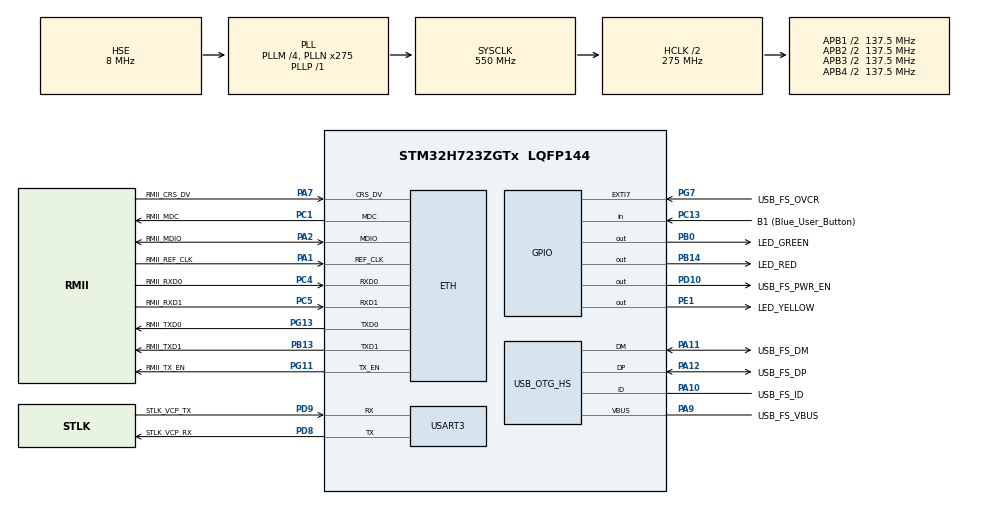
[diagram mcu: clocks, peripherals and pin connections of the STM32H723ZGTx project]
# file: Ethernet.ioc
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ADC3.Channel-0\#ChannelRegularConversion=ADC_CHANNEL_VREFINT
ADC3.ClockPrescalerADC3=ADC_CLOCK_ASYNC_DIV2
ADC3.NbrOfConversionFlag=1
ADC3.OffsetNumber-0\#ChannelRegularConversion=ADC_OFFSET_NONE
ADC3.OffsetSign-0\#ChannelRegularConversion=ADC3_OFFSET_SIGN_NEGATIVE
ADC3.Rank-0\#ChannelRegularConversion=1
ADC3.SamplingTime-0\#ChannelRegularConversion=ADC3_SAMPLETIME_2CYCLES_5
ETH.MediaInterface=HAL_ETH_RMII_MODE
Mcu.Family=STM32H7
Mcu.Name=STM32H723ZGTx
Mcu.Package=LQFP144
NVIC.PriorityGroup=NVIC_PRIORITYGROUP_4
PA1.GPIO_Label=RMII_REF_CLK
PA1.Mode=RMII
PA1.Signal=ETH_REF_CLK
PA10.GPIO_Label=USB_FS_ID
PA10.Mode=OTG/Dual-Role-Device-FS
PA10.Signal=USB_OTG_HS_ID
PA11.GPIO_Label=USB_FS_DM
PA11.Mode=OTG/Dual-Role-Device-FS
PA11.Signal=USB_OTG_HS_DM
PA12.GPIO_Label=USB_FS_DP
PA12.Mode=OTG/Dual-Role-Device-FS
PA12.Signal=USB_OTG_HS_DP
PA13(JTMS/SWDIO).GPIO_Label=SWDIO
PA13(JTMS/SWDIO).Mode=Trace_Asynchronous_SW
PA13(JTMS/SWDIO).Signal=DEBUG_JTMS-SWDIO
PA14(JTCK/SWCLK).GPIO_Label=SWCLK
PA14(JTCK/SWCLK).Mode=Trace_Asynchronous_SW
PA14(JTCK/SWCLK).Signal=DEBUG_JTCK-SWCLK
PA2.GPIO_Label=RMII_MDIO
PA2.Mode=RMII
PA2.Signal=ETH_MDIO
PA7.GPIO_Label=RMII_CRS_DV
PA7.Mode=RMII
PA7.Signal=ETH_CRS_DV
PA9.GPIO_Label=USB_FS_VBUS
PA9.Mode=Activate_VBUS_FS
PA9.Signal=USB_OTG_HS_VBUS
PB0.GPIO_Label=LED_GREEN
PB0.Signal=GPIO_Output
PB13.GPIO_Label=RMII_TXD1
PB13.Mode=RMII
PB13.Signal=ETH_TXD1
PB14.GPIO_Label=LED_RED
PB14.Signal=GPIO_Output
PB3(JTDO/TRACESWO).GPIO_Label=SWO
PB3(JTDO/TRACESWO).Mode=Trace_Asynchronous_SW
PB3(JTDO/TRACESWO).Signal=DEBUG_JTDO-SWO
PC1.GPIO_Label=RMII_MDC
PC1.Mode=RMII
PC1.Signal=ETH_MDC
PC13.GPIO_Label=B1 (Blue_User_Button)
PC13.Signal=GPIO_Input
PC14-OSC32_IN.Mode=LSE-External-Oscillator
PC14-OSC32_IN.Signal=RCC_OSC32_IN
PC15-OSC32_OUT.Mode=LSE-External-Oscillator
PC15-OSC32_OUT.Signal=RCC_OSC32_OUT
PC4.GPIO_Label=RMII_RXD0
PC4.Mode=RMII
PC4.Signal=ETH_RXD0
PC5.GPIO_Label=RMII_RXD1
PC5.Mode=RMII
PC5.Signal=ETH_RXD1
PD10.GPIO_Label=USB_FS_PWR_EN
PD10.Signal=GPIO_Output
PD8.GPIO_Label=STLK_VCP_RX
PD8.Mode=Asynchronous
PD8.Signal=USART3_TX
PD9.GPIO_Label=STLK_VCP_TX
PD9.Mode=Asynchronous
PD9.Signal=USART3_RX
PE1.GPIO_Label=LED_YELLOW
PE1.Signal=GPIO_Output
PG11.GPIO_Label=RMII_TX_EN
PG11.Mode=RMII
PG11.Signal=ETH_TX_EN
PG13.GPIO_Label=RMII_TXD0
PG13.Mode=RMII
PG13.Signal=ETH_TXD0
PG7.GPIO_Label=USB_FS_OVCR
PG7.Signal=GPXTI7
PH0-OSC_IN.GPIO_Label=MCO
PH0-OSC_IN.Mode=HSE-External-Clock-Source
PH0-OSC_IN.Signal=RCC_OSC_IN
PH1-OSC_OUT.Signal=RCC_OSC_OUT
ProjectManager.HeapSize=0x4000
ProjectManager.StackSize=0x2000
ProjectManager.TargetToolchain=STM32CubeIDE
RCC.ADCFreq_Value=76000000
RCC.APB1Freq_Value=137500000
RCC.APB2Freq_Value=137500000
RCC.APB3Freq_Value=137500000
RCC.APB4Freq_Value=137500000
RCC.CortexFreq_Value=550000000
RCC.D1PPRE=RCC_APB3_DIV2
RCC.D2PPRE1=RCC_APB1_DIV2
RCC.D2PPRE2=RCC_APB2_DIV2
RCC.D3PPRE=RCC_APB4_DIV2
RCC.DIVM1=4
RCC.DIVM2=1
RCC.DIVN1=275
RCC.DIVN2=19
RCC.DIVP1=1
RCC.DIVQ1=4
RCC.HCLKFreq_Value=275000000
RCC.HPRE=RCC_HCLK_DIV2
RCC.HSE_VALUE=8000000
RCC.PLLFRACN=0
RCC.PLLSourceVirtual=RCC_PLLSOURCE_HSE
RCC.SYSCLKFreq_VALUE=550000000
RCC.SYSCLKSource=RCC_SYSCLKSOURCE_PLLCLK
RCC.USBCLockSelection=RCC_USBCLKSOURCE_HSI48
RCC.USBFreq_Value=48000000
USART3.VirtualMode-Asynchronous=VM_ASYNC
VP_ADC3_Vref_Input.Mode=IN-Vrefint
VP_MEMORYMAP_VS_MEMORYMAP.Mode=CurAppReg
board=NUCLEO-H723ZG

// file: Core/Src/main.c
/* USER CODE BEGIN Header */
/**
  ******************************************************************************
  * @file           : main.c
  * @brief          : Main program body
  ******************************************************************************
  * @attention
  *
  * Copyright (c) 2024 STMicroelectronics.
  * All rights reserved.
  *
  * This software is licensed under terms that can be found in the LICENSE file
  * in the root directory of this software component.
  * If no LICENSE file comes with this software, it is provided AS-IS.
  *
  ******************************************************************************
  */
/* USER CODE END Header */
#include "main.h"
#include "string.h"

/* USER CODE BEGIN Includes */
#include "stm32h7xx_hal_eth.h"
#include <stdio.h>
#include <time.h>
#include <stdlib.h>
/* USER CODE END Includes */

/* USER CODE BEGIN PTD */
#define TOTAL_FLOATS 128
#define TX_BUFFER_SIZE 512
uint8_t TxDataBuffer[TX_BUFFER_SIZE];
float adc_buffer[TOTAL_FLOATS];
//#define GET_TRAINING_DATA
/* USER CODE END PTD */

#if defined ( __ICCARM__ ) /*!< IAR Compiler */
#pragma location=0x30000000
ETH_DMADescTypeDef  DMARxDscrTab[ETH_RX_DESC_CNT]; /* Ethernet Rx DMA Descriptors */
#pragma location=0x30000080
ETH_DMADescTypeDef  DMATxDscrTab[ETH_TX_DESC_CNT]; /* Ethernet Tx DMA Descriptors */

#elif defined ( __CC_ARM )  /* MDK ARM Compiler */

__attribute__((at(0x30000000))) ETH_DMADescTypeDef  DMARxDscrTab[ETH_RX_DESC_CNT]; /* Ethernet Rx DMA Descriptors */
__attribute__((at(0x30000080))) ETH_DMADescTypeDef  DMATxDscrTab[ETH_TX_DESC_CNT]; /* Ethernet Tx DMA Descriptors */

#elif defined ( __GNUC__ ) /* GNU Compiler */

ETH_DMADescTypeDef DMARxDscrTab[ETH_RX_DESC_CNT] __attribute__((section(".RxDecripSection"))); /* Ethernet Rx DMA Descriptors */
ETH_DMADescTypeDef DMATxDscrTab[ETH_TX_DESC_CNT] __attribute__((section(".TxDecripSection")));   /* Ethernet Tx DMA Descriptors */
#endif

ETH_TxPacketConfig TxConfig;
ADC_HandleTypeDef hadc3;
ETH_HandleTypeDef heth;
UART_HandleTypeDef huart3;

/* USER CODE BEGIN PV */
void TransmitPacket(ETH_HandleTypeDef *heth);
void ReadChunk(ETH_HandleTypeDef *heth, uint8_t *RxDataBuffer);
void TransmitRawVoltage();
/* USER CODE END PV */

void SystemClock_Config(void);
static void MX_GPIO_Init(void);
static void MX_ETH_Init(void);
static void MX_USART3_UART_Init(void);
static void MX_USB_OTG_HS_USB_Init(void);
static void MX_ADC3_Init(void);

int main(void)
{

  /* MCU Configuration--------------------------------------------------------*/

  /* Reset of all peripherals, Initializes the Flash interface and the Systick. */
  HAL_Init();

  /* Configure the system clock */
  SystemClock_Config();

  /* Initialize all configured peripherals */
  MX_GPIO_Init();
  MX_ETH_Init();
  MX_USART3_UART_Init();
  MX_USB_OTG_HS_USB_Init();
  MX_ADC3_Init();
  /* USER CODE BEGIN 2 */

  for(int i=0; i < 100; i++)
	  TransmitRawVoltage();

  /* USER CODE END 2 */

  /* Infinite loop */
  while (1)
  {

  }
}

void SystemClock_Config(void)
{
  RCC_OscInitTypeDef RCC_OscInitStruct = {0};
  RCC_ClkInitTypeDef RCC_ClkInitStruct = {0};

  /** Supply configuration update enable
  */
  HAL_PWREx_ConfigSupply(PWR_LDO_SUPPLY);

  /** Configure the main internal regulator output voltage
  */
  __HAL_PWR_VOLTAGESCALING_CONFIG(PWR_REGULATOR_VOLTAGE_SCALE0);

  while(!__HAL_PWR_GET_FLAG(PWR_FLAG_VOSRDY)) {}

  /** Initializes the RCC Oscillators according to the specified parameters
  * in the RCC_OscInitTypeDef structure.
  */
  RCC_OscInitStruct.OscillatorType = RCC_OSCILLATORTYPE_HSI48|RCC_OSCILLATORTYPE_HSE;
  RCC_OscInitStruct.HSEState = RCC_HSE_BYPASS;
  RCC_OscInitStruct.HSI48State = RCC_HSI48_ON;
  RCC_OscInitStruct.PLL.PLLState = RCC_PLL_ON;
  RCC_OscInitStruct.PLL.PLLSource = RCC_PLLSOURCE_HSE;
  RCC_OscInitStruct.PLL.PLLM = 4;
  RCC_OscInitStruct.PLL.PLLN = 275;
  RCC_OscInitStruct.PLL.PLLP = 1;
  RCC_OscInitStruct.PLL.PLLQ = 4;
  RCC_OscInitStruct.PLL.PLLR = 2;
  RCC_OscInitStruct.PLL.PLLRGE = RCC_PLL1VCIRANGE_1;
  RCC_OscInitStruct.PLL.PLLVCOSEL = RCC_PLL1VCOWIDE;
  RCC_OscInitStruct.PLL.PLLFRACN = 0;
  if (HAL_RCC_OscConfig(&RCC_OscInitStruct) != HAL_OK)
  {
    Error_Handler();
  }

  /** Initializes the CPU, AHB and APB buses clocks
  */
  RCC_ClkInitStruct.ClockType = RCC_CLOCKTYPE_HCLK|RCC_CLOCKTYPE_SYSCLK
                              |RCC_CLOCKTYPE_PCLK1|RCC_CLOCKTYPE_PCLK2
                              |RCC_CLOCKTYPE_D3PCLK1|RCC_CLOCKTYPE_D1PCLK1;
  RCC_ClkInitStruct.SYSCLKSource = RCC_SYSCLKSOURCE_PLLCLK;
  RCC_ClkInitStruct.SYSCLKDivider = RCC_SYSCLK_DIV1;
  RCC_ClkInitStruct.AHBCLKDivider = RCC_HCLK_DIV2;
  RCC_ClkInitStruct.APB3CLKDivider = RCC_APB3_DIV2;
  RCC_ClkInitStruct.APB1CLKDivider = RCC_APB1_DIV2;
  RCC_ClkInitStruct.APB2CLKDivider = RCC_APB2_DIV2;
  RCC_ClkInitStruct.APB4CLKDivider = RCC_APB4_DIV2;

  if (HAL_RCC_ClockConfig(&RCC_ClkInitStruct, FLASH_LATENCY_3) != HAL_OK)
  {
    Error_Handler();
  }
}

static void MX_ADC3_Init(void)
{

  /* USER CODE BEGIN ADC3_Init 0 */
	__HAL_RCC_ADC3_CLK_ENABLE();
  /* USER CODE END ADC3_Init 0 */

  ADC_ChannelConfTypeDef sConfig = {0};

  /** Common config
  */
  hadc3.Instance = ADC3;
  hadc3.Init.ClockPrescaler = ADC_CLOCK_ASYNC_DIV2;
  hadc3.Init.Resolution = ADC_RESOLUTION_12B;
  hadc3.Init.DataAlign = ADC3_DATAALIGN_RIGHT;
  hadc3.Init.ScanConvMode = DISABLE;
  hadc3.Init.EOCSelection = ADC_EOC_SINGLE_CONV;
  hadc3.Init.LowPowerAutoWait = DISABLE;
  hadc3.Init.ContinuousConvMode = DISABLE;
  hadc3.Init.NbrOfConversion = 1;
  hadc3.Init.DiscontinuousConvMode = DISABLE;
  hadc3.Init.ExternalTrigConv = ADC_SOFTWARE_START;
  hadc3.Init.ExternalTrigConvEdge = ADC_EXTERNALTRIGCONVEDGE_NONE;
  hadc3.Init.DMAContinuousRequests = DISABLE;
  hadc3.Init.SamplingMode = ADC_SAMPLING_MODE_NORMAL;
  hadc3.Init.ConversionDataManagement = ADC_CONVERSIONDATA_DR;
  hadc3.Init.Overrun = ADC_OVR_DATA_PRESERVED;
  hadc3.Init.LeftBitShift = ADC_LEFTBITSHIFT_NONE;
  hadc3.Init.OversamplingMode = DISABLE;
  hadc3.Init.Oversampling.Ratio = ADC3_OVERSAMPLING_RATIO_2;
  if (HAL_ADC_Init(&hadc3) != HAL_OK)
  {
    Error_Handler();
  }

  /** Configure Regular Channel
  */
  sConfig.Channel = ADC_CHANNEL_VREFINT;
  sConfig.Rank = ADC_REGULAR_RANK_1;
  sConfig.SamplingTime = ADC3_SAMPLETIME_2CYCLES_5;
  sConfig.SingleDiff = ADC_SINGLE_ENDED;
  sConfig.OffsetNumber = ADC_OFFSET_NONE;
  sConfig.Offset = 0;
  sConfig.OffsetSign = ADC3_OFFSET_SIGN_NEGATIVE;
  if (HAL_ADC_ConfigChannel(&hadc3, &sConfig) != HAL_OK)
  {
    Error_Handler();
  }

}

static void MX_ETH_Init(void)
{

   static uint8_t MACAddr[6];

  heth.Instance = ETH;
  MACAddr[0] = 0x00;
  MACAddr[1] = 0x80;
  MACAddr[2] = 0xE1;
  MACAddr[3] = 0x00;
  MACAddr[4] = 0x00;
  MACAddr[5] = 0x00;
  heth.Init.MACAddr = &MACAddr[0];
  heth.Init.MediaInterface = HAL_ETH_RMII_MODE;
  heth.Init.TxDesc = DMATxDscrTab;
  heth.Init.RxDesc = DMARxDscrTab;
  heth.Init.RxBuffLen = 1524;

  if (HAL_ETH_Init(&heth) != HAL_OK)
  {
    Error_Handler();
  }

  memset(&TxConfig, 0 , sizeof(ETH_TxPacketConfig));
  TxConfig.Attributes = ETH_TX_PACKETS_FEATURES_CSUM | ETH_TX_PACKETS_FEATURES_CRCPAD;
  TxConfig.ChecksumCtrl = ETH_CHECKSUM_IPHDR_PAYLOAD_INSERT_PHDR_CALC;
  TxConfig.CRCPadCtrl = ETH_CRC_PAD_INSERT;

}

static void MX_USART3_UART_Init(void)
{

  /* USER CODE BEGIN USART3_Init 0 */
	__HAL_RCC_USART3_CLK_ENABLE();
  /* USER CODE END USART3_Init 0 */

  huart3.Instance = USART3;
  huart3.Init.BaudRate = 115200;
  huart3.Init.WordLength = UART_WORDLENGTH_8B;
  huart3.Init.StopBits = UART_STOPBITS_1;
  huart3.Init.Parity = UART_PARITY_NONE;
  huart3.Init.Mode = UART_MODE_TX_RX;
  huart3.Init.HwFlowCtl = UART_HWCONTROL_NONE;
  huart3.Init.OverSampling = UART_OVERSAMPLING_16;
  huart3.Init.OneBitSampling = UART_ONE_BIT_SAMPLE_DISABLE;
  huart3.Init.ClockPrescaler = UART_PRESCALER_DIV1;
  huart3.AdvancedInit.AdvFeatureInit = UART_ADVFEATURE_NO_INIT;
  if (HAL_UART_Init(&huart3) != HAL_OK)
  {
    Error_Handler();
  }
  if (HAL_UARTEx_SetTxFifoThreshold(&huart3, UART_TXFIFO_THRESHOLD_1_8) != HAL_OK)
  {
    Error_Handler();
  }
  if (HAL_UARTEx_SetRxFifoThreshold(&huart3, UART_RXFIFO_THRESHOLD_1_8) != HAL_OK)
  {
    Error_Handler();
  }
  if (HAL_UARTEx_DisableFifoMode(&huart3) != HAL_OK)
  {
    Error_Handler();
  }

}

static void MX_USB_OTG_HS_USB_Init(void)
{

}

static void MX_GPIO_Init(void)
{
  GPIO_InitTypeDef GPIO_InitStruct = {0};

  /* GPIO Ports Clock Enable */
  __HAL_RCC_GPIOC_CLK_ENABLE();
  __HAL_RCC_GPIOH_CLK_ENABLE();
  __HAL_RCC_GPIOA_CLK_ENABLE();
  __HAL_RCC_GPIOB_CLK_ENABLE();
  __HAL_RCC_GPIOD_CLK_ENABLE();
  __HAL_RCC_GPIOG_CLK_ENABLE();
  __HAL_RCC_GPIOE_CLK_ENABLE();

  /*Configure GPIO pin Output Level */
  HAL_GPIO_WritePin(GPIOB, LED_GREEN_Pin|LED_RED_Pin, GPIO_PIN_RESET);

  /*Configure GPIO pin Output Level */
  HAL_GPIO_WritePin(USB_FS_PWR_EN_GPIO_Port, USB_FS_PWR_EN_Pin, GPIO_PIN_RESET);

  /*Configure GPIO pin Output Level */
  HAL_GPIO_WritePin(LED_YELLOW_GPIO_Port, LED_YELLOW_Pin, GPIO_PIN_RESET);

  /*Configure GPIO pin : B1_Pin */
  GPIO_InitStruct.Pin = B1_Pin;
  GPIO_InitStruct.Mode = GPIO_MODE_INPUT;
  GPIO_InitStruct.Pull = GPIO_NOPULL;
  HAL_GPIO_Init(B1_GPIO_Port, &GPIO_InitStruct);

  /*Configure GPIO pins : LED_GREEN_Pin LED_RED_Pin */
  GPIO_InitStruct.Pin = LED_GREEN_Pin|LED_RED_Pin;
  GPIO_InitStruct.Mode = GPIO_MODE_OUTPUT_PP;
  GPIO_InitStruct.Pull = GPIO_NOPULL;
  GPIO_InitStruct.Speed = GPIO_SPEED_FREQ_LOW;
  HAL_GPIO_Init(GPIOB, &GPIO_InitStruct);

  /*Configure GPIO pin : USB_FS_PWR_EN_Pin */
  GPIO_InitStruct.Pin = USB_FS_PWR_EN_Pin;
  GPIO_InitStruct.Mode = GPIO_MODE_OUTPUT_PP;
  GPIO_InitStruct.Pull = GPIO_NOPULL;
  GPIO_InitStruct.Speed = GPIO_SPEED_FREQ_LOW;
  HAL_GPIO_Init(USB_FS_PWR_EN_GPIO_Port, &GPIO_InitStruct);

  /*Configure GPIO pin : USB_FS_OVCR_Pin */
  GPIO_InitStruct.Pin = USB_FS_OVCR_Pin;
  GPIO_InitStruct.Mode = GPIO_MODE_IT_RISING;
  GPIO_InitStruct.Pull = GPIO_NOPULL;
  HAL_GPIO_Init(USB_FS_OVCR_GPIO_Port, &GPIO_InitStruct);

  /*Configure GPIO pin : USB_FS_VBUS_Pin */
  GPIO_InitStruct.Pin = USB_FS_VBUS_Pin;
  GPIO_InitStruct.Mode = GPIO_MODE_INPUT;
  GPIO_InitStruct.Pull = GPIO_NOPULL;
  HAL_GPIO_Init(USB_FS_VBUS_GPIO_Port, &GPIO_InitStruct);

  /*Configure GPIO pin : USB_FS_ID_Pin */
  GPIO_InitStruct.Pin = USB_FS_ID_Pin;
  GPIO_InitStruct.Mode = GPIO_MODE_AF_PP;
  GPIO_InitStruct.Pull = GPIO_NOPULL;
  GPIO_InitStruct.Speed = GPIO_SPEED_FREQ_LOW;
  GPIO_InitStruct.Alternate = GPIO_AF10_OTG1_HS;
  HAL_GPIO_Init(USB_FS_ID_GPIO_Port, &GPIO_InitStruct);

  /*Configure GPIO pin : LED_YELLOW_Pin */
  GPIO_InitStruct.Pin = LED_YELLOW_Pin;
  GPIO_InitStruct.Mode = GPIO_MODE_OUTPUT_PP;
  GPIO_InitStruct.Pull = GPIO_NOPULL;
  GPIO_InitStruct.Speed = GPIO_SPEED_FREQ_LOW;
  HAL_GPIO_Init(LED_YELLOW_GPIO_Port, &GPIO_InitStruct);

}

/* USER CODE BEGIN 4 */

void TransmitPacket(ETH_HandleTypeDef *heth) {
    const uint16_t payload_len = TX_BUFFER_SIZE; // 512 bytes

    // Clean the transmit buffer before use
    memset(TxDataBuffer, 0, TX_BUFFER_SIZE);
    memcpy(TxDataBuffer, adc_buffer, payload_len);

    // Initialize TxBuffer
    ETH_BufferTypeDef TxBuffer;
    memset(&TxBuffer, 0, sizeof(ETH_BufferTypeDef));
    TxBuffer.buffer = TxDataBuffer;
    TxBuffer.len = payload_len;
    TxBuffer.next = NULL;

    // Initialize TxConfig
    ETH_TxPacketConfig TxConfig;
    memset(&TxConfig, 0, sizeof(ETH_TxPacketConfig));
    TxConfig.Attributes    = ETH_TX_PACKETS_FEATURES_CSUM | ETH_TX_PACKETS_FEATURES_CRCPAD;
    TxConfig.ChecksumCtrl  = ETH_CHECKSUM_IPHDR_PAYLOAD_INSERT_PHDR_CALC;
    TxConfig.CRCPadCtrl    = ETH_CRC_PAD_INSERT;
    TxConfig.Length        = payload_len;    // Match exactly
    TxConfig.TxBuffer      = &TxBuffer;

    // Transmit
    if (HAL_ETH_Transmit(heth, &TxConfig, HAL_MAX_DELAY) != HAL_OK) {
        printf("❌ Packet transmission failed (len=%d)\n", payload_len);
        Error_Handler();
    } else {
        printf("✅ Packet transmitted (%d bytes)\n", payload_len);
    }
}

int _write(int file, char *ptr, int len) {
    HAL_UART_Transmit(&huart3, (uint8_t*)ptr, len, HAL_MAX_DELAY);
    return len;
}
void ReadChunk(ETH_HandleTypeDef *heth, uint8_t *RxDataBuffer) {
#if 0
    size_t line_length = 16;  // Number of bytes to display per line
    size_t i;

    // Use heth->Init.RxBuffLen to get the length of the buffer.
    for (i = 0; i < heth->Init.RxBuffLen; i += line_length) {
        // Print hex values
        printf("Hex:   ");
        for (size_t j = 0; j < line_length && (i + j) < heth->Init.RxBuffLen; ++j) {
            printf("%02x ", RxDataBuffer[i + j]);
        }
        printf("\r\n");

        // Print ASCII characters
        printf("Chars: ");
        for (size_t j = 0; j < line_length && (i + j) < heth->Init.RxBuffLen; ++j) {
            uint8_t c = RxDataBuffer[i + j];
            if (c >= 32 && c <= 126) {
                printf("%c  ", c);  // Printable ASCII character
            } else {
                printf(".  ");  // Non-printable character replaced with '.'
            }
        }
        printf("\r\n\r\n");  // Double new line to separate different chunks
    }
#endif
}
void TransmitRawVoltage()
{
	int float_cnt = 0;
	int byte_cnt = 0;
	if (HAL_ETH_Start(&heth) != HAL_OK)
		  {
			  printf("Failed to start Ethernet\r\n");
			  Error_Handler();
		  } else {
			  printf("Ethernet started\r\n");
		  }
	 uint8_t *RxDataBuffer = NULL;
	 if (HAL_ETH_ReadData(&heth, (void*)&RxDataBuffer)) {

		  ReadChunk(&heth, RxDataBuffer);
	 }
	 for (int i = 0; i < TOTAL_FLOATS; i++) {
		HAL_ADC_Start(&hadc3);
		if (HAL_ADC_PollForConversion(&hadc3, HAL_MAX_DELAY) == HAL_OK) {
			uint16_t raw = HAL_ADC_GetValue(&hadc3);
			adc_buffer[i] = ((float)raw * 3.3f) / 4095.0f;
			float_cnt++;
			printf("%f ", adc_buffer[i]);
		}
		HAL_ADC_Stop(&hadc3);
	 }
	 printf("\n\r the end of floats, now TxDataBuffer");
	 memset(TxDataBuffer, 0, TX_BUFFER_SIZE);
	 const float *src_ptr = adc_buffer; // Pointer to the source float array
	 uint8_t *dest_ptr = TxDataBuffer;

	 // Convert floats in adc_buffer to bytes and store in TxDataBuffer
	 for (int i = 0; i < TOTAL_FLOATS; i++) {
		 // Each float (4 bytes) is copied to the appropriate position in TxDataBuffer
		  memcpy(dest_ptr, src_ptr, sizeof(float));
		  // Move the pointers to the next position
		  src_ptr++;
		  dest_ptr += sizeof(float);
		  byte_cnt += sizeof(float);
	 }
	 printf("Total floats obtained by ADC: %d, Total bytes written to TxDataBuffer: %d", float_cnt, byte_cnt);
	 for (int i = 0; i < TOTAL_FLOATS; i += 4) {
		 printf("TxDataBuffer [%d - %d]: %02x %02x %02x %02x\r\n", i, i+3,
				TxDataBuffer[i], TxDataBuffer[i+1], TxDataBuffer[i+2], TxDataBuffer[i+3]);

	 }
	 TransmitPacket(&heth);

	 HAL_ETH_Stop(&heth);
	 printf("Total floats obtained by ADC: %d, Total bytes written to TxDataBuffer: %d", float_cnt, byte_cnt);

}
#if 0
void GetRawVoltage() {
    for (int i = 0; i < TOTAL_FLOATS; i++) {
        HAL_ADC_Start(&hadc3);
        if (HAL_ADC_PollForConversion(&hadc3, HAL_MAX_DELAY) == HAL_OK) {
            uint16_t raw = HAL_ADC_GetValue(&hadc3);
            float voltage = ((float)raw * 3.3f) / 4095.0f;  // Convert to actual voltage
            printf("%0.5f ", voltage);
        } else {
            printf("0.00000 ");  // fallback if conversion fails
        }
        HAL_ADC_Stop(&hadc3);
    }
    printf("\r\n");
}
#endif
/* USER CODE END 4 */

void Error_Handler(void)
{
  __disable_irq();
  while (1)
  {
  }
}
